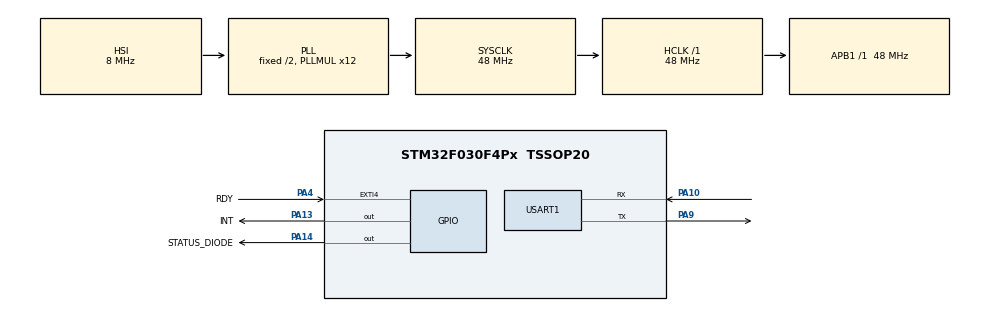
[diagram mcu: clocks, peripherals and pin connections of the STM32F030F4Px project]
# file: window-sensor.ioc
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Mcu.Family=STM32F0
Mcu.Name=STM32F030F4Px
Mcu.Package=TSSOP20
Mcu.UserConstants=I2C_ADDR,I2C_ADDR
NVIC.EXTI4_15_IRQn=true\:0\:0\:false\:false\:true
NVIC.USART1_IRQn=true\:0\:0\:false\:false\:true
PA10.Mode=Asynchronous
PA10.Signal=USART1_RX
PA13.GPIO_Label=INT
PA13.GPIO_PuPd=GPIO_PULLDOWN
PA13.Signal=GPIO_Output
PA14.GPIO_Label=STATUS_DIODE
PA14.PinState=GPIO_PIN_SET
PA14.Signal=GPIO_Output
PA4.GPIO_Label=RDY
PA4.Signal=GPXTI4
PA9.Mode=Asynchronous
PA9.Signal=USART1_TX
ProjectManager.HeapSize=0x200
ProjectManager.StackSize=0x400
ProjectManager.TargetToolchain=Makefile
RCC.AHBFreq_Value=48000000
RCC.APB1Freq_Value=48000000
RCC.APB1TimFreq_Value=48000000
RCC.HCLKFreq_Value=48000000
RCC.PLLMUL=RCC_PLL_MUL12
RCC.SYSCLKFreq_VALUE=48000000
RCC.SYSCLKSource=RCC_SYSCLKSOURCE_PLLCLK
USART1.VirtualMode-Asynchronous=VM_ASYNC
board=window-sensor

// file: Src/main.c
/**
  ******************************************************************************
  * File Name          : main.c
  * Description        : Main program body
  ******************************************************************************
  ** This notice applies to any and all portions of this file
  * that are not between comment pairs USER CODE BEGIN and
  * USER CODE END. Other portions of this file, whether
  * inserted by the user or by software development tools
  * are owned by their respective copyright owners.
  *
  * COPYRIGHT(c) 2017 STMicroelectronics
  *
  * Redistribution and use in source and binary forms, with or without modification,
  * are permitted provided that the following conditions are met:
  *   1. Redistributions of source code must retain the above copyright notice,
  *      this list of conditions and the following disclaimer.
  *   2. Redistributions in binary form must reproduce the above copyright notice,
  *      this list of conditions and the following disclaimer in the documentation
  *      and/or other materials provided with the distribution.
  *   3. Neither the name of STMicroelectronics nor the names of its contributors
  *      may be used to endorse or promote products derived from this software
  *      without specific prior written permission.
  *
  * THIS SOFTWARE IS PROVIDED BY THE COPYRIGHT HOLDERS AND CONTRIBUTORS "AS IS"
  * AND ANY EXPRESS OR IMPLIED WARRANTIES, INCLUDING, BUT NOT LIMITED TO, THE
  * IMPLIED WARRANTIES OF MERCHANTABILITY AND FITNESS FOR A PARTICULAR PURPOSE ARE
  * DISCLAIMED. IN NO EVENT SHALL THE COPYRIGHT HOLDER OR CONTRIBUTORS BE LIABLE
  * FOR ANY DIRECT, INDIRECT, INCIDENTAL, SPECIAL, EXEMPLARY, OR CONSEQUENTIAL
  * DAMAGES (INCLUDING, BUT NOT LIMITED TO, PROCUREMENT OF SUBSTITUTE GOODS OR
  * SERVICES; LOSS OF USE, DATA, OR PROFITS; OR BUSINESS INTERRUPTION) HOWEVER
  * CAUSED AND ON ANY THEORY OF LIABILITY, WHETHER IN CONTRACT, STRICT LIABILITY,
  * OR TORT (INCLUDING NEGLIGENCE OR OTHERWISE) ARISING IN ANY WAY OUT OF THE USE
  * OF THIS SOFTWARE, EVEN IF ADVISED OF THE POSSIBILITY OF SUCH DAMAGE.
  *
  ******************************************************************************
  */
#include "main.h"
#include "stm32f0xx_hal.h"
#include "usart.h"
#include "gpio.h"

/* USER CODE BEGIN PV */
/* Private variables ---------------------------------------------------------*/
#define SIZE 0
#define MESSAGE 1

int mode = SIZE;

uint8_t *buffer = (uint8_t *) "Hello";
uint8_t size = 5;

/* USER CODE END PV */

void SystemClock_Config(void);

/* USER CODE BEGIN PFP */
/* Private function prototypes -----------------------------------------------*/

/* USER CODE END PFP */

int main(void)
{

  /* MCU Configuration----------------------------------------------------------*/

  /* Reset of all peripherals, Initializes the Flash interface and the Systick. */
  HAL_Init();

  /* Configure the system clock */
  SystemClock_Config();

  /* Initialize all configured peripherals */
  MX_GPIO_Init();
  MX_USART1_UART_Init();

  /* USER CODE BEGIN 2 */
    HAL_UART_DeInit(&huart1);
  /* USER CODE END 2 */

  /* Infinite loop */
  while (1)
  {

  /* USER CODE BEGIN 3 */
      HAL_Delay(1000);
      mode = SIZE;
      HAL_GPIO_WritePin(INT_GPIO_Port, INT_Pin, GPIO_PIN_SET);
      HAL_GPIO_WritePin(INT_GPIO_Port, INT_Pin, GPIO_PIN_RESET);
      HAL_UART_Init(&huart1);
  }
  /* USER CODE END 3 */

}

/** System Clock Configuration
*/
void SystemClock_Config(void)
{

  RCC_OscInitTypeDef RCC_OscInitStruct;
  RCC_ClkInitTypeDef RCC_ClkInitStruct;
  RCC_PeriphCLKInitTypeDef PeriphClkInit;

    /**Initializes the CPU, AHB and APB busses clocks
    */
  RCC_OscInitStruct.OscillatorType = RCC_OSCILLATORTYPE_HSI;
  RCC_OscInitStruct.HSIState = RCC_HSI_ON;
  RCC_OscInitStruct.HSICalibrationValue = 16;
  RCC_OscInitStruct.PLL.PLLState = RCC_PLL_ON;
  RCC_OscInitStruct.PLL.PLLSource = RCC_PLLSOURCE_HSI;
  RCC_OscInitStruct.PLL.PLLMUL = RCC_PLL_MUL12;
  RCC_OscInitStruct.PLL.PREDIV = RCC_PREDIV_DIV1;
  if (HAL_RCC_OscConfig(&RCC_OscInitStruct) != HAL_OK)
  {
    _Error_Handler(__FILE__, __LINE__);
  }

    /**Initializes the CPU, AHB and APB busses clocks
    */
  RCC_ClkInitStruct.ClockType = RCC_CLOCKTYPE_HCLK|RCC_CLOCKTYPE_SYSCLK
                              |RCC_CLOCKTYPE_PCLK1;
  RCC_ClkInitStruct.SYSCLKSource = RCC_SYSCLKSOURCE_PLLCLK;
  RCC_ClkInitStruct.AHBCLKDivider = RCC_SYSCLK_DIV1;
  RCC_ClkInitStruct.APB1CLKDivider = RCC_HCLK_DIV1;

  if (HAL_RCC_ClockConfig(&RCC_ClkInitStruct, FLASH_LATENCY_1) != HAL_OK)
  {
    _Error_Handler(__FILE__, __LINE__);
  }

  PeriphClkInit.PeriphClockSelection = RCC_PERIPHCLK_USART1;
  PeriphClkInit.Usart1ClockSelection = RCC_USART1CLKSOURCE_PCLK1;
  if (HAL_RCCEx_PeriphCLKConfig(&PeriphClkInit) != HAL_OK)
  {
    _Error_Handler(__FILE__, __LINE__);
  }

    /**Configure the Systick interrupt time
    */
  HAL_SYSTICK_Config(HAL_RCC_GetHCLKFreq()/1000);

    /**Configure the Systick
    */
  HAL_SYSTICK_CLKSourceConfig(SYSTICK_CLKSOURCE_HCLK);

  /* SysTick_IRQn interrupt configuration */
  HAL_NVIC_SetPriority(SysTick_IRQn, 0, 0);
}

/* USER CODE BEGIN 4 */

void HAL_GPIO_EXTI_Callback(uint16_t pin) {
    if (pin == RDY_Pin) {
        HAL_UART_Transmit_IT(&huart1, &size, 1);
        HAL_GPIO_TogglePin(STATUS_DIODE_GPIO_Port, STATUS_DIODE_Pin);
    }
}

void HAL_UART_TxCpltCallback(UART_HandleTypeDef *huart) {
  if (mode == SIZE) {
    HAL_UART_Transmit_IT(&huart1, buffer, size);
    mode = MESSAGE;
  } else {
    mode = SIZE;
    HAL_UART_DeInit(huart);
  }
}

/* USER CODE END 4 */

void _Error_Handler(char * file, int line)
{
  while(1)
  {
  }
}

/************************ (C) COPYRIGHT STMicroelectronics *****END OF FILE****/
